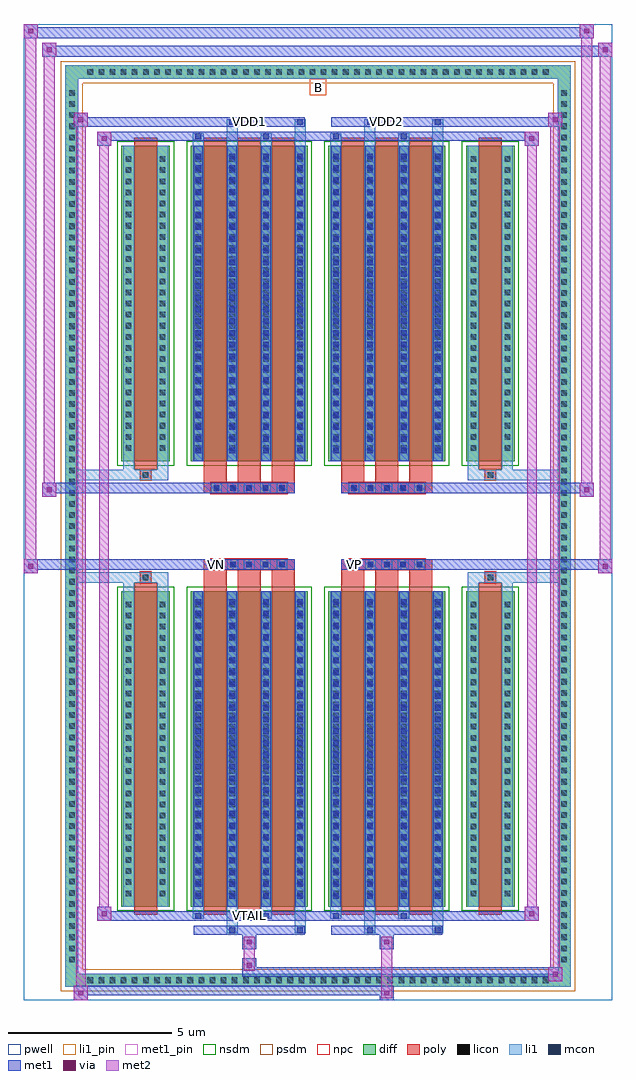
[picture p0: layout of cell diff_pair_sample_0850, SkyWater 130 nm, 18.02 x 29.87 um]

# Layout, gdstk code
import gdstk
lib = gdstk.Library(unit=1e-6, precision=5e-09)
def R(c, l, rs):  # rectangles x0, y0, x1, y1
    for r in rs: c.add(gdstk.rectangle(r[:2], r[2:], *l))
def A(c, l, x, y, w, h, nx, ny, dx, dy):  # array of equal rectangles
    R(c, l, [(x+i*dx, y+j*dy, x+i*dx+w, y+j*dy+h) for i in range(nx) for j in range(ny)])
def P(c, l, *ps):  # polygons
    for p in ps: c.add(gdstk.Polygon(p, *l))
pwell = (64, 44)
diff = (65, 20)
poly = (66, 20)
licon = (66, 44)
li1_pin = (67, 16)
li1 = (67, 20)
mcon = (67, 44)
met1_pin = (68, 16)
met1 = (68, 20)
via = (68, 44)
met2 = (69, 20)
nsdm = (93, 44)
psdm = (94, 20)
npc = (95, 20)

diff_pair_sample_0850 = lib.new_cell('diff_pair_sample_0850')
R(diff_pair_sample_0850, pwell, [(-9.01,-14.5,9.01,15.37), (-6.33,-12.69,-0.01,-0.805), (0.01,-12.69,6.33,-0.805), (-6.33,0.805,-0.01,12.69), (0.01,0.805,6.33,12.69)])
A(diff_pair_sample_0850, diff, -7.175, -14.1, 0.41, 0.41, 42, 2, 0.34, 27.79)
A(diff_pair_sample_0850, diff, -7.74, -13.465, 0.41, 0.41, 1, 79, 0, 0.34)
A(diff_pair_sample_0850, diff, 7.33, -13.465, 0.41, 0.41, 1, 79, 0, 0.34)
R(diff_pair_sample_0850, diff, [(-7.175,-14.1,7.175,-13.69), (-7.74,-13.465,-7.33,13.465), (7.33,-13.465,7.74,13.465), (-6.02,-11.645,-4.53,-1.985), (-3.89,-11.645,-0.32,-1.985), (0.32,-11.645,3.89,-1.985), (4.53,-11.645,6.02,-1.985), (-6.02,1.985,-4.53,11.645), (-3.89,1.985,-0.32,11.645), (0.32,1.985,3.89,11.645), (4.53,1.985,6.02,11.645), (-7.175,13.69,7.175,14.1)])
P(diff_pair_sample_0850, diff, [(7.74,14.1),(-7.74,14.1),(-7.74,-13.69),(-7.33,-13.69),(-7.33,13.69),(7.33,13.69),(7.33,-13.69),(-7.33,-13.69),(-7.74,-13.69),(-7.74,-14.1),(7.74,-14.1)])
A(diff_pair_sample_0850, poly, -3.5, -11.895, 0.71, 10.16, 3, 2, 1.04, 13.63)
A(diff_pair_sample_0850, poly, 0.71, -11.895, 0.71, 10.16, 3, 2, 1.04, 13.63)
A(diff_pair_sample_0850, poly, -3.5, -1.735, 0.71, 0.4, 3, 2, 1.04, 3.07)
A(diff_pair_sample_0850, poly, 0.71, -1.735, 0.71, 0.4, 3, 2, 1.04, 3.07)
A(diff_pair_sample_0850, poly, -3.27, -1.335, 0.33, 0.33, 5, 2, 0.5, 2.34)
A(diff_pair_sample_0850, poly, 0.94, -1.335, 0.33, 0.33, 5, 2, 0.5, 2.34)
R(diff_pair_sample_0850, poly, [(-5.63,-11.895,-4.92,-1.735), (4.92,-11.895,5.63,-1.735), (-5.44,-1.735,-5.11,-1.405), (-5.44,-1.735,-5.11,-1.405), (5.11,-1.735,5.44,-1.405), (5.11,-1.735,5.44,-1.405), (-3.5,-1.335,-0.71,-1.005), (0.71,-1.335,3.5,-1.005), (-3.5,1.005,-0.71,1.335), (0.71,1.005,3.5,1.335), (-5.44,1.405,-5.11,1.735), (-5.44,1.405,-5.11,1.735), (5.11,1.405,5.44,1.735), (5.11,1.405,5.44,1.735), (-5.63,1.735,-4.92,11.895), (4.92,1.735,5.63,11.895)])
A(diff_pair_sample_0850, licon, -7.055, -13.98, 0.17, 0.17, 42, 2, 0.34, 27.79)
A(diff_pair_sample_0850, licon, -7.62, -13.345, 0.17, 0.17, 1, 79, 0, 0.34)
A(diff_pair_sample_0850, licon, 7.45, -13.345, 0.17, 0.17, 1, 79, 0, 0.34)
A(diff_pair_sample_0850, licon, -5.88, -11.32, 0.17, 0.17, 1, 27, 0, 0.34)
A(diff_pair_sample_0850, licon, -4.84, -11.32, 0.17, 0.17, 1, 27, 0, 0.34)
A(diff_pair_sample_0850, licon, -3.75, -11.32, 0.17, 0.17, 4, 27, 1.04, 0.34)
A(diff_pair_sample_0850, licon, 0.46, -11.32, 0.17, 0.17, 4, 27, 1.04, 0.34)
A(diff_pair_sample_0850, licon, 4.67, -11.32, 0.17, 0.17, 1, 27, 0, 0.34)
A(diff_pair_sample_0850, licon, 5.71, -11.32, 0.17, 0.17, 1, 27, 0, 0.34)
A(diff_pair_sample_0850, licon, -3.19, -1.255, 0.17, 0.17, 5, 2, 0.5, 2.34)
A(diff_pair_sample_0850, licon, 1.02, -1.255, 0.17, 0.17, 5, 2, 0.5, 2.34)
A(diff_pair_sample_0850, licon, -5.88, 2.31, 0.17, 0.17, 1, 27, 0, 0.34)
A(diff_pair_sample_0850, licon, -4.84, 2.31, 0.17, 0.17, 1, 27, 0, 0.34)
A(diff_pair_sample_0850, licon, -3.75, 2.31, 0.17, 0.17, 4, 27, 1.04, 0.34)
A(diff_pair_sample_0850, licon, 0.46, 2.31, 0.17, 0.17, 4, 27, 1.04, 0.34)
A(diff_pair_sample_0850, licon, 4.67, 2.31, 0.17, 0.17, 1, 27, 0, 0.34)
A(diff_pair_sample_0850, licon, 5.71, 2.31, 0.17, 0.17, 1, 27, 0, 0.34)
R(diff_pair_sample_0850, licon, [(-5.36,-1.655,-5.19,-1.485), (5.19,-1.655,5.36,-1.485), (-5.36,1.485,-5.19,1.655), (5.19,1.485,5.36,1.655)])
R(diff_pair_sample_0850, li1_pin, [(-0.25,13.19,0.25,13.69)])
A(diff_pair_sample_0850, li1, -7.135, -14.06, 0.33, 0.33, 42, 2, 0.34, 27.79)
A(diff_pair_sample_0850, li1, -7.7, -13.425, 0.33, 0.33, 1, 79, 0, 0.34)
A(diff_pair_sample_0850, li1, 7.37, -13.425, 0.33, 0.33, 1, 79, 0, 0.34)
A(diff_pair_sample_0850, li1, -3.83, -11.645, 0.33, 9.66, 4, 2, 1.04, 13.63)
A(diff_pair_sample_0850, li1, 0.38, -11.645, 0.33, 9.66, 4, 2, 1.04, 13.63)
A(diff_pair_sample_0850, li1, -5.96, -11.4, 0.33, 0.33, 1, 27, 0, 0.34)
A(diff_pair_sample_0850, li1, -4.92, -11.4, 0.33, 0.33, 1, 27, 0, 0.34)
A(diff_pair_sample_0850, li1, -3.83, -11.4, 0.33, 0.33, 4, 27, 1.04, 0.34)
A(diff_pair_sample_0850, li1, -3.75, -11.4, 0.17, 0.17, 4, 26, 1.04, 0.36)
A(diff_pair_sample_0850, li1, -3.75, -11.4, 0.17, 9.17, 4, 2, 1.04, 13.63)
A(diff_pair_sample_0850, li1, 0.38, -11.4, 0.33, 0.33, 4, 27, 1.04, 0.34)
A(diff_pair_sample_0850, li1, 0.46, -11.4, 0.17, 0.17, 4, 26, 1.04, 0.36)
A(diff_pair_sample_0850, li1, 0.46, -11.4, 0.17, 9.17, 4, 2, 1.04, 13.63)
A(diff_pair_sample_0850, li1, 4.59, -11.4, 0.33, 0.33, 1, 27, 0, 0.34)
A(diff_pair_sample_0850, li1, 5.63, -11.4, 0.33, 0.33, 1, 27, 0, 0.34)
A(diff_pair_sample_0850, li1, -3.27, -1.335, 0.33, 0.33, 5, 2, 0.5, 2.34)
A(diff_pair_sample_0850, li1, 0.94, -1.335, 0.33, 0.33, 5, 2, 0.5, 2.34)
A(diff_pair_sample_0850, li1, -5.96, 2.23, 0.33, 0.33, 1, 27, 0, 0.34)
A(diff_pair_sample_0850, li1, -4.92, 2.23, 0.33, 0.33, 1, 27, 0, 0.34)
A(diff_pair_sample_0850, li1, -3.83, 2.23, 0.33, 0.33, 4, 27, 1.04, 0.34)
A(diff_pair_sample_0850, li1, -3.75, 2.23, 0.17, 0.17, 4, 26, 1.04, 0.36)
A(diff_pair_sample_0850, li1, 0.38, 2.23, 0.33, 0.33, 4, 27, 1.04, 0.34)
A(diff_pair_sample_0850, li1, 0.46, 2.23, 0.17, 0.17, 4, 26, 1.04, 0.36)
A(diff_pair_sample_0850, li1, 4.59, 2.23, 0.33, 0.33, 1, 27, 0, 0.34)
A(diff_pair_sample_0850, li1, 5.63, 2.23, 0.33, 0.33, 1, 27, 0, 0.34)
R(diff_pair_sample_0850, li1, [(-7.74,-14.1,-7.33,-13.69), (-7.74,-14.1,-7.33,-13.69), (-7.33,-14.1,7.33,-13.69), (7.33,-14.1,7.74,-13.69), (7.33,-14.1,7.74,-13.69), (-7.74,-13.69,-7.33,13.69), (7.33,-13.69,7.74,13.69), (-2.79,-12.45,-2.46,-11.645), (-2.71,-12.45,-2.54,-12.28), (-0.71,-12.45,-0.38,-11.645), (-0.63,-12.45,-0.46,-12.28), (1.42,-12.45,1.75,-11.645), (1.5,-12.45,1.67,-12.28), (3.5,-12.45,3.83,-11.645), (3.58,-12.45,3.75,-12.28), (-3.83,-12.02,-3.5,-11.645), (-3.75,-12.02,-3.58,-11.85), (-1.75,-12.02,-1.42,-11.645), (-1.67,-12.02,-1.5,-11.85), (0.38,-12.02,0.71,-11.645), (0.46,-12.02,0.63,-11.85), (2.46,-12.02,2.79,-11.645), (2.54,-12.02,2.71,-11.85), (-5.96,-11.645,-5.63,-1.985), (-4.92,-11.645,-4.59,-1.985), (4.59,-11.645,4.92,-1.985), (5.63,-11.645,5.96,-1.985), (-5.96,-1.985,-5.63,-1.405), (-4.92,-1.985,-4.59,-1.405), (4.59,-1.985,4.92,-1.405), (5.63,-1.985,5.96,-1.405), (-7.74,-1.735,-5.44,-1.405), (-5.96,-1.735,-5.44,-1.405), (-5.44,-1.735,-5.11,-1.405), (-5.11,-1.735,-4.59,-1.405), (4.59,-1.735,5.11,-1.405), (5.11,-1.735,5.44,-1.405), (5.11,-1.735,7.74,-1.405), (5.44,-1.735,5.96,-1.405), (-7.74,1.405,-5.44,1.735), (-5.96,1.405,-5.44,1.735), (-5.96,1.405,-5.63,1.985), (-5.44,1.405,-5.11,1.735), (-5.11,1.405,-4.59,1.735), (-4.92,1.405,-4.59,1.985), (4.59,1.405,5.11,1.735), (4.59,1.405,4.92,1.985), (5.11,1.405,5.44,1.735), (5.11,1.405,7.74,1.735), (5.44,1.405,5.96,1.735), (5.63,1.405,5.96,1.985), (-5.96,1.985,-5.63,11.645), (-4.92,1.985,-4.59,11.645), (4.59,1.985,4.92,11.645), (5.63,1.985,5.96,11.645), (-3.83,11.645,-3.5,12.02), (-2.79,11.645,-2.46,12.45), (-1.75,11.645,-1.42,12.02), (-0.71,11.645,-0.38,12.45), (0.38,11.645,0.71,12.02), (1.42,11.645,1.75,12.45), (2.46,11.645,2.79,12.02), (3.5,11.645,3.83,12.45), (-3.75,11.85,-3.58,12.02), (-1.67,11.85,-1.5,12.02), (0.46,11.85,0.63,12.02), (2.54,11.85,2.71,12.02), (-2.71,12.28,-2.54,12.45), (-0.63,12.28,-0.46,12.45), (1.5,12.28,1.67,12.45), (3.58,12.28,3.75,12.45), (-7.74,13.69,-7.33,14.1), (-7.74,13.69,-7.33,14.1), (-7.33,13.69,7.33,14.1), (7.33,13.69,7.74,14.1), (7.33,13.69,7.74,14.1)])
A(diff_pair_sample_0850, mcon, -3.75, -11.4, 0.17, 0.17, 4, 26, 1.04, 0.36)
A(diff_pair_sample_0850, mcon, 0.46, -11.4, 0.17, 0.17, 4, 26, 1.04, 0.36)
A(diff_pair_sample_0850, mcon, -3.19, -1.255, 0.17, 0.17, 5, 2, 0.5, 2.34)
A(diff_pair_sample_0850, mcon, 1.02, -1.255, 0.17, 0.17, 5, 2, 0.5, 2.34)
A(diff_pair_sample_0850, mcon, -3.75, 2.23, 0.17, 0.17, 4, 26, 1.04, 0.36)
A(diff_pair_sample_0850, mcon, 0.46, 2.23, 0.17, 0.17, 4, 26, 1.04, 0.36)
R(diff_pair_sample_0850, mcon, [(-2.71,-12.45,-2.54,-12.28), (-0.63,-12.45,-0.46,-12.28), (1.5,-12.45,1.67,-12.28), (3.58,-12.45,3.75,-12.28), (-3.75,-12.02,-3.58,-11.85), (-1.67,-12.02,-1.5,-11.85), (0.46,-12.02,0.63,-11.85), (2.54,-12.02,2.71,-11.85), (-3.75,11.85,-3.58,12.02), (-1.67,11.85,-1.5,12.02), (0.46,11.85,0.63,12.02), (2.54,11.85,2.71,12.02), (-2.71,12.28,-2.54,12.45), (-0.63,12.28,-0.46,12.45), (1.5,12.28,1.67,12.45), (3.58,12.28,3.75,12.45)])
R(diff_pair_sample_0850, met1_pin, [(-2.24,-12.06,-1.97,-11.79), (-3.24,-1.295,-2.97,-1.025), (0.97,-1.295,1.24,-1.025), (-2.24,12.24,-1.97,12.51), (1.97,12.24,2.24,12.51)])
A(diff_pair_sample_0850, met1, -3.81, -11.645, 0.29, 9.66, 4, 2, 1.04, 13.63)
A(diff_pair_sample_0850, met1, 0.4, -11.645, 0.29, 9.66, 4, 2, 1.04, 13.63)
A(diff_pair_sample_0850, met1, -3.81, -11.46, 0.29, 0.29, 4, 26, 1.04, 0.36)
A(diff_pair_sample_0850, met1, 0.4, -11.46, 0.29, 0.29, 4, 26, 1.04, 0.36)
A(diff_pair_sample_0850, met1, -3.25, -1.315, 0.29, 0.29, 5, 2, 0.5, 2.34)
A(diff_pair_sample_0850, met1, 0.96, -1.315, 0.29, 0.29, 5, 2, 0.5, 2.34)
A(diff_pair_sample_0850, met1, -3.81, 2.17, 0.29, 0.29, 4, 26, 1.04, 0.36)
A(diff_pair_sample_0850, met1, 0.4, 2.17, 0.29, 0.29, 4, 26, 1.04, 0.36)
R(diff_pair_sample_0850, met1, [(-7.47,-14.5,-7.04,-14.07), (1.89,-14.5,2.32,-14.07), (-7.47,-14.36,2.32,-14.07), (7.04,-13.93,7.47,-13.5), (-2.32,-13.79,7.47,-13.5), (-2.32,-13.65,-1.89,-13.22), (-2.32,-12.94,-1.89,-12.51), (1.89,-12.94,2.32,-12.51), (-3.81,-12.51,-0.4,-12.22), (-2.77,-12.51,-2.48,-12.22), (-0.69,-12.51,-0.4,-12.22), (0.4,-12.51,3.81,-12.22), (1.44,-12.51,1.73,-12.22), (3.52,-12.51,3.81,-12.22), (-6.76,-12.08,-6.33,-11.65), (-6.76,-12.08,-3.81,-11.79), (-3.81,-12.08,-3.52,-11.79), (-3.81,-12.08,-0.4,-11.79), (-1.73,-12.08,-1.44,-11.79), (-0.4,-12.08,0.4,-11.79), (0.4,-12.08,0.69,-11.79), (0.4,-12.08,3.81,-11.79), (2.48,-12.08,2.77,-11.79), (3.81,-12.08,6.76,-11.79), (6.33,-12.08,6.76,-11.65), (-9.01,-1.435,-8.58,-1.005), (8.58,-1.435,9.01,-1.005), (-9.01,-1.335,-0.71,-1.005), (-3.5,-1.335,-0.71,-1.005), (0.71,-1.335,3.5,-1.005), (0.71,-1.335,9.01,-1.005), (-8.44,0.905,-8.01,1.335), (8.01,0.905,8.44,1.335), (-8.44,1.005,-3.5,1.335), (-3.5,1.005,-0.71,1.335), (0.71,1.005,3.5,1.335), (3.5,1.005,8.44,1.335), (-6.76,11.65,-6.33,12.08), (6.33,11.65,6.76,12.08), (-6.76,11.79,-3.81,12.08), (-3.81,11.79,-3.52,12.08), (-3.81,11.79,-0.4,12.08), (-1.73,11.79,-1.44,12.08), (-0.4,11.79,0.4,12.08), (0.4,11.79,0.69,12.08), (0.4,11.79,3.81,12.08), (2.48,11.79,2.77,12.08), (3.81,11.79,6.76,12.08), (-7.47,12.22,-7.04,12.65), (-7.47,12.22,-3.81,12.51), (-3.81,12.22,-0.4,12.51), (-2.77,12.22,-2.48,12.51), (-0.69,12.22,-0.4,12.51), (0.4,12.22,3.81,12.51), (1.44,12.22,1.73,12.51), (3.52,12.22,3.81,12.51), (3.81,12.22,7.47,12.51), (7.04,12.22,7.47,12.65), (-8.44,14.37,-8.01,14.8), (-8.44,14.37,-6.33,14.7), (-6.33,14.37,6.33,14.7), (6.33,14.37,9.01,14.7), (8.58,14.37,9.01,14.8), (-9.01,14.94,-8.58,15.37), (-9.01,14.94,-6.33,15.27), (-6.33,14.94,6.33,15.27), (6.33,14.94,8.44,15.27), (8.01,14.94,8.44,15.37)])
R(diff_pair_sample_0850, via, [(-7.33,-14.36,-7.18,-14.21), (2.03,-14.36,2.18,-14.21), (7.18,-13.79,7.33,-13.64), (-2.18,-13.51,-2.03,-13.36), (-2.18,-12.8,-2.03,-12.65), (2.03,-12.8,2.18,-12.65), (-6.62,-11.94,-6.47,-11.79), (6.47,-11.94,6.62,-11.79), (-8.87,-1.295,-8.72,-1.145), (8.72,-1.295,8.87,-1.145), (-8.3,1.045,-8.15,1.195), (8.15,1.045,8.3,1.195), (-6.62,11.79,-6.47,11.94), (6.47,11.79,6.62,11.94), (-7.33,12.36,-7.18,12.51), (7.18,12.36,7.33,12.51), (-8.3,14.51,-8.15,14.66), (8.72,14.51,8.87,14.66), (-8.87,15.08,-8.72,15.23), (8.15,15.08,8.3,15.23)])
R(diff_pair_sample_0850, met2, [(-7.47,-14.5,-7.04,-14.07), (-7.4,-14.5,-7.11,12.65), (-7.11,-14.5,-7.04,-14.07), (-7.42,-14.45,-7.09,-14.12), (1.94,-14.45,2.27,-14.12), (1.94,-14.12,2.27,-12.89), (7.04,-13.93,7.47,-13.5), (7.11,-13.93,7.4,12.65), (7.4,-13.93,7.47,-13.5), (7.09,-13.88,7.42,-13.55), (-2.27,-13.6,-1.94,-13.27), (-2.27,-13.27,-1.94,-12.89), (-2.27,-12.89,-1.94,-12.56), (1.94,-12.89,2.27,-12.56), (-6.76,-12.08,-6.33,-11.65), (-6.69,-12.08,-6.4,12.08), (-6.4,-12.08,-6.33,-11.65), (6.33,-12.08,6.76,-11.65), (6.4,-12.08,6.69,12.08), (6.69,-12.08,6.76,-11.65), (-6.71,-12.03,-6.38,-11.7), (6.38,-12.03,6.71,-11.7), (-9.01,-1.435,-8.58,-1.005), (-8.96,-1.435,-8.63,15.37), (-8.63,-1.435,-8.58,-1.005), (8.58,-1.435,9.01,-1.005), (8.63,-1.435,8.96,14.8), (8.96,-1.435,9.01,-1.005), (-8.96,-1.385,-8.63,-1.055), (8.63,-1.385,8.96,-1.055), (-8.44,0.905,-8.01,1.335), (-8.39,0.905,-8.06,14.8), (-8.06,0.905,-8.01,1.335), (8.01,0.905,8.44,1.335), (8.06,0.905,8.39,15.37), (8.39,0.905,8.44,1.335), (-8.39,0.955,-8.06,1.285), (8.06,0.955,8.39,1.285), (-6.76,11.65,-6.33,12.08), (-6.4,11.65,-6.33,12.08), (6.33,11.65,6.76,12.08), (6.69,11.65,6.76,12.08), (-6.71,11.7,-6.38,12.03), (6.38,11.7,6.71,12.03), (-7.47,12.22,-7.04,12.65), (-7.11,12.22,-7.04,12.65), (7.04,12.22,7.47,12.65), (7.4,12.22,7.47,12.65), (-7.42,12.27,-7.09,12.6), (7.09,12.27,7.42,12.6), (-8.44,14.37,-8.01,14.8), (-8.06,14.37,-8.01,14.8), (8.58,14.37,9.01,14.8), (8.96,14.37,9.01,14.8), (-8.39,14.42,-8.06,14.75), (8.63,14.42,8.96,14.75), (-9.01,14.94,-8.58,15.37), (-8.63,14.94,-8.58,15.37), (8.01,14.94,8.44,15.37), (8.39,14.94,8.44,15.37), (-8.96,14.99,-8.63,15.32), (8.06,14.99,8.39,15.32)])
R(diff_pair_sample_0850, nsdm, [(-6.15,-11.775,-4.4,-1.855), (-4.02,-11.775,-0.19,-1.855), (0.19,-11.775,4.02,-1.855), (4.4,-11.775,6.15,-1.855), (-6.15,1.855,-4.4,11.775), (-4.02,1.855,-0.19,11.775), (0.19,1.855,4.02,11.775), (4.4,1.855,6.15,11.775)])
P(diff_pair_sample_0850, psdm, [(7.87,14.23),(-7.87,14.23),(-7.87,-13.56),(-7.2,-13.56),(-7.2,13.56),(7.2,13.56),(7.2,-13.56),(-7.2,-13.56),(-7.87,-13.56),(-7.87,-14.23),(7.87,-14.23)])
A(diff_pair_sample_0850, npc, -3.29, -1.355, 0.37, 0.37, 5, 2, 0.5, 2.34)
A(diff_pair_sample_0850, npc, 0.92, -1.355, 0.37, 0.37, 5, 2, 0.5, 2.34)
R(diff_pair_sample_0850, npc, [(-5.46,-1.755,-5.09,-1.385), (5.09,-1.755,5.46,-1.385), (-3.29,-1.355,-2.42,-0.985), (-3.29,-1.355,-2.42,-0.985), (-2.79,-1.355,-1.92,-0.985), (-2.79,-1.355,-1.92,-0.985), (-2.29,-1.355,-1.42,-0.985), (-2.29,-1.355,-1.42,-0.985), (-1.79,-1.355,-0.92,-0.985), (-1.79,-1.355,-0.92,-0.985), (0.92,-1.355,1.79,-0.985), (0.92,-1.355,1.79,-0.985), (1.42,-1.355,2.29,-0.985), (1.42,-1.355,2.29,-0.985), (1.92,-1.355,2.79,-0.985), (1.92,-1.355,2.79,-0.985), (2.42,-1.355,3.29,-0.985), (2.42,-1.355,3.29,-0.985), (-3.29,0.985,-2.42,1.355), (-3.29,0.985,-2.42,1.355), (-2.79,0.985,-1.92,1.355), (-2.79,0.985,-1.92,1.355), (-2.29,0.985,-1.42,1.355), (-2.29,0.985,-1.42,1.355), (-1.79,0.985,-0.92,1.355), (-1.79,0.985,-0.92,1.355), (0.92,0.985,1.79,1.355), (0.92,0.985,1.79,1.355), (1.42,0.985,2.29,1.355), (1.42,0.985,2.29,1.355), (1.92,0.985,2.79,1.355), (1.92,0.985,2.79,1.355), (2.42,0.985,3.29,1.355), (2.42,0.985,3.29,1.355), (-5.46,1.385,-5.09,1.755), (5.09,1.385,5.46,1.755)])
diff_pair_sample_0850.add(gdstk.Label('VTAIL', (-2.105,-11.925), layer=68, texttype=5))
diff_pair_sample_0850.add(gdstk.Label('VN', (-3.105,-1.16), layer=68, texttype=5))
diff_pair_sample_0850.add(gdstk.Label('VP', (1.105,-1.16), layer=68, texttype=5))
diff_pair_sample_0850.add(gdstk.Label('B', (0,13.44), layer=67, texttype=5))
diff_pair_sample_0850.add(gdstk.Label('VDD2', (2.105,12.375), layer=68, texttype=5))
diff_pair_sample_0850.add(gdstk.Label('VDD1', (-2.105,12.375), layer=68, texttype=5))

lib.write_gds('diff_pair_sample_0850.gds')
